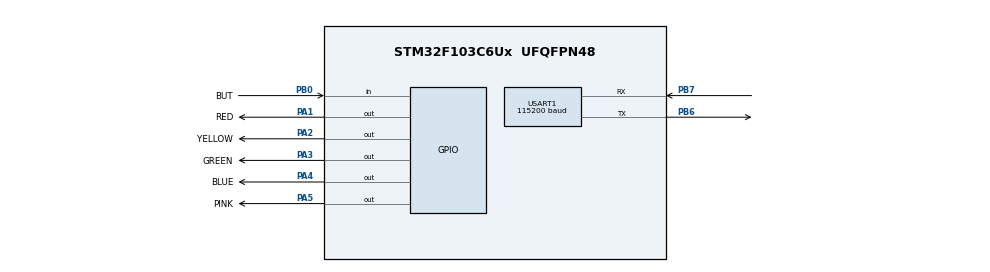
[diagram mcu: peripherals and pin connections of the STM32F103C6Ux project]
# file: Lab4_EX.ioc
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Mcu.Family=STM32F1
Mcu.Name=STM32F103C6Ux
Mcu.Package=UFQFPN48
NVIC.PriorityGroup=NVIC_PRIORITYGROUP_4
NVIC.TIM2_IRQn=true\:0\:0\:false\:false\:true\:true\:true
NVIC.USART1_IRQn=true\:0\:0\:false\:false\:true\:true\:true
PA1.GPIO_Label=RED
PA1.Signal=GPIO_Output
PA2.GPIO_Label=YELLOW
PA2.Signal=GPIO_Output
PA3.GPIO_Label=GREEN
PA3.Signal=GPIO_Output
PA4.GPIO_Label=BLUE
PA4.Signal=GPIO_Output
PA5.GPIO_Label=PINK
PA5.Signal=GPIO_Output
PB0.GPIO_Label=BUT
PB0.Signal=GPIO_Input
PB6.Mode=Asynchronous
PB6.Signal=USART1_TX
PB7.Mode=Asynchronous
PB7.Signal=USART1_RX
ProjectManager.HeapSize=0x200
ProjectManager.StackSize=0x400
ProjectManager.TargetToolchain=STM32CubeIDE
RCC.APB1Freq_Value=8000000
RCC.APB2Freq_Value=8000000
TIM2.Period=9
TIM2.Prescaler=7999
USART1.BaudRate=115200
USART1.VirtualMode=VM_ASYNC
VP_SYS_VS_ND.Mode=No_Debug
VP_TIM2_VS_ClockSourceINT.Mode=Internal
board=custom

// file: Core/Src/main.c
/* USER CODE BEGIN Header */
/**
  ******************************************************************************
  * @file           : main.c
  * @brief          : Main program body
  ******************************************************************************
  * @attention
  *
  * <h2><center>&copy; Copyright (c) 2025 STMicroelectronics.
  * All rights reserved.</center></h2>
  *
  * This software component is licensed by ST under BSD 3-Clause license,
  * the "License"; You may not use this file except in compliance with the
  * License. You may obtain a copy of the License at:
  *                        opensource.org/licenses/BSD-3-Clause
  *
  ******************************************************************************
  */
/* USER CODE END Header */
#include "main.h"

/* USER CODE BEGIN Includes */
#include "sched.h"
#include "input_reading.h"
#include "string.h"
#include <stdio.h>
/* USER CODE END Includes */

TIM_HandleTypeDef htim2;

UART_HandleTypeDef huart1;

void SystemClock_Config(void);
static void MX_GPIO_Init(void);
static void MX_TIM2_Init(void);
static void MX_USART1_UART_Init(void);

/* USER CODE BEGIN 0 */
void toggleRed(){
	HAL_GPIO_TogglePin(RED_GPIO_Port, RED_Pin);
}

void toggleYellow(){
	HAL_GPIO_TogglePin(YELLOW_GPIO_Port, YELLOW_Pin);
}

void toggleGreen(){
	HAL_GPIO_TogglePin(GREEN_GPIO_Port, GREEN_Pin);
}

void toggleBlue(){
	HAL_GPIO_TogglePin(BLUE_GPIO_Port, BLUE_Pin);
}

void togglePink(){
	HAL_GPIO_TogglePin(PINK_GPIO_Port, PINK_Pin);
}

void displayMSG (char *str){
	HAL_UART_Transmit(&huart1, (void*)str, strlen(str), 10);
}

/* USER CODE END 0 */

int main(void)
{

  /* MCU Configuration--------------------------------------------------------*/

  /* Reset of all peripherals, Initializes the Flash interface and the Systick. */
  HAL_Init();

  /* Configure the system clock */
  SystemClock_Config();

  /* Initialize all configured peripherals */
  MX_GPIO_Init();
  MX_TIM2_Init();
  MX_USART1_UART_Init();
  /* USER CODE BEGIN 2 */
  HAL_TIM_Base_Start_IT(&htim2);
  SCH_INIT();

  //add button control task
#ifdef SCH_BUTTON
  SCH_Add_Task(setButton, 0, 0);
  SCH_Add_Task(readButton,5,1);
#else
  setButton();
#endif
  SCH_Add_Task(toggleRed,50,50);	// ID 1
  SCH_Add_Task(toggleYellow,51,100);// 2
  SCH_Add_Task(toggleGreen,52,150);// 3
  SCH_Add_Task(toggleBlue,53,200);// 4
  SCH_Add_Task(togglePink,54,250);// 5
  /* USER CODE END 2 */

  /* Infinite loop */
  /* USER CODE BEGIN WHILE */
  while (1)
  {
	  SCH_Dispatcher();
	  if (Press_button(0)){
		  ERROR_CODE status = SCH_Delete_Task(4);
		  if (status == NO_ERROR){
			  displayMSG("Task with ID 4 deleted successfully. \r\n");
		  } else{
			  displayMSG("ERROR. \r\n");
		  }
	  }
    /* USER CODE END WHILE */

  }
}

void SystemClock_Config(void)
{
  RCC_OscInitTypeDef RCC_OscInitStruct = {0};
  RCC_ClkInitTypeDef RCC_ClkInitStruct = {0};

  /** Initializes the RCC Oscillators according to the specified parameters
  * in the RCC_OscInitTypeDef structure.
  */
  RCC_OscInitStruct.OscillatorType = RCC_OSCILLATORTYPE_HSI;
  RCC_OscInitStruct.HSIState = RCC_HSI_ON;
  RCC_OscInitStruct.HSICalibrationValue = RCC_HSICALIBRATION_DEFAULT;
  RCC_OscInitStruct.PLL.PLLState = RCC_PLL_NONE;
  if (HAL_RCC_OscConfig(&RCC_OscInitStruct) != HAL_OK)
  {
    Error_Handler();
  }
  /** Initializes the CPU, AHB and APB buses clocks
  */
  RCC_ClkInitStruct.ClockType = RCC_CLOCKTYPE_HCLK|RCC_CLOCKTYPE_SYSCLK
                              |RCC_CLOCKTYPE_PCLK1|RCC_CLOCKTYPE_PCLK2;
  RCC_ClkInitStruct.SYSCLKSource = RCC_SYSCLKSOURCE_HSI;
  RCC_ClkInitStruct.AHBCLKDivider = RCC_SYSCLK_DIV1;
  RCC_ClkInitStruct.APB1CLKDivider = RCC_HCLK_DIV1;
  RCC_ClkInitStruct.APB2CLKDivider = RCC_HCLK_DIV1;

  if (HAL_RCC_ClockConfig(&RCC_ClkInitStruct, FLASH_LATENCY_0) != HAL_OK)
  {
    Error_Handler();
  }
}

static void MX_TIM2_Init(void)
{

  TIM_ClockConfigTypeDef sClockSourceConfig = {0};
  TIM_MasterConfigTypeDef sMasterConfig = {0};

  htim2.Instance = TIM2;
  htim2.Init.Prescaler = 7999;
  htim2.Init.CounterMode = TIM_COUNTERMODE_UP;
  htim2.Init.Period = 9;
  htim2.Init.ClockDivision = TIM_CLOCKDIVISION_DIV1;
  htim2.Init.AutoReloadPreload = TIM_AUTORELOAD_PRELOAD_DISABLE;
  if (HAL_TIM_Base_Init(&htim2) != HAL_OK)
  {
    Error_Handler();
  }
  sClockSourceConfig.ClockSource = TIM_CLOCKSOURCE_INTERNAL;
  if (HAL_TIM_ConfigClockSource(&htim2, &sClockSourceConfig) != HAL_OK)
  {
    Error_Handler();
  }
  sMasterConfig.MasterOutputTrigger = TIM_TRGO_RESET;
  sMasterConfig.MasterSlaveMode = TIM_MASTERSLAVEMODE_DISABLE;
  if (HAL_TIMEx_MasterConfigSynchronization(&htim2, &sMasterConfig) != HAL_OK)
  {
    Error_Handler();
  }

}

static void MX_USART1_UART_Init(void)
{

  huart1.Instance = USART1;
  huart1.Init.BaudRate = 115200;
  huart1.Init.WordLength = UART_WORDLENGTH_8B;
  huart1.Init.StopBits = UART_STOPBITS_1;
  huart1.Init.Parity = UART_PARITY_NONE;
  huart1.Init.Mode = UART_MODE_TX_RX;
  huart1.Init.HwFlowCtl = UART_HWCONTROL_NONE;
  huart1.Init.OverSampling = UART_OVERSAMPLING_16;
  if (HAL_UART_Init(&huart1) != HAL_OK)
  {
    Error_Handler();
  }

}

static void MX_GPIO_Init(void)
{
  GPIO_InitTypeDef GPIO_InitStruct = {0};

  /* GPIO Ports Clock Enable */
  __HAL_RCC_GPIOA_CLK_ENABLE();
  __HAL_RCC_GPIOB_CLK_ENABLE();

  /*Configure GPIO pin Output Level */
  HAL_GPIO_WritePin(GPIOA, RED_Pin|YELLOW_Pin|GREEN_Pin|BLUE_Pin
                          |PINK_Pin, GPIO_PIN_RESET);

  /*Configure GPIO pins : RED_Pin YELLOW_Pin GREEN_Pin BLUE_Pin
                           PINK_Pin */
  GPIO_InitStruct.Pin = RED_Pin|YELLOW_Pin|GREEN_Pin|BLUE_Pin
                          |PINK_Pin;
  GPIO_InitStruct.Mode = GPIO_MODE_OUTPUT_PP;
  GPIO_InitStruct.Pull = GPIO_NOPULL;
  GPIO_InitStruct.Speed = GPIO_SPEED_FREQ_LOW;
  HAL_GPIO_Init(GPIOA, &GPIO_InitStruct);

  /*Configure GPIO pin : BUT_Pin */
  GPIO_InitStruct.Pin = BUT_Pin;
  GPIO_InitStruct.Mode = GPIO_MODE_INPUT;
  GPIO_InitStruct.Pull = GPIO_NOPULL;
  HAL_GPIO_Init(BUT_GPIO_Port, &GPIO_InitStruct);

}

/* USER CODE BEGIN 4 */
void HAL_TIM_PeriodElapsedCallback(TIM_HandleTypeDef *htim){
	SCH_Update();
#ifndef SCH_BUTTON
	readButton();
#endif
}
/* USER CODE END 4 */

void Error_Handler(void)
{
  __disable_irq();
  while (1)
  {
  }
}

/************************ (C) COPYRIGHT STMicroelectronics *****END OF FILE****/
